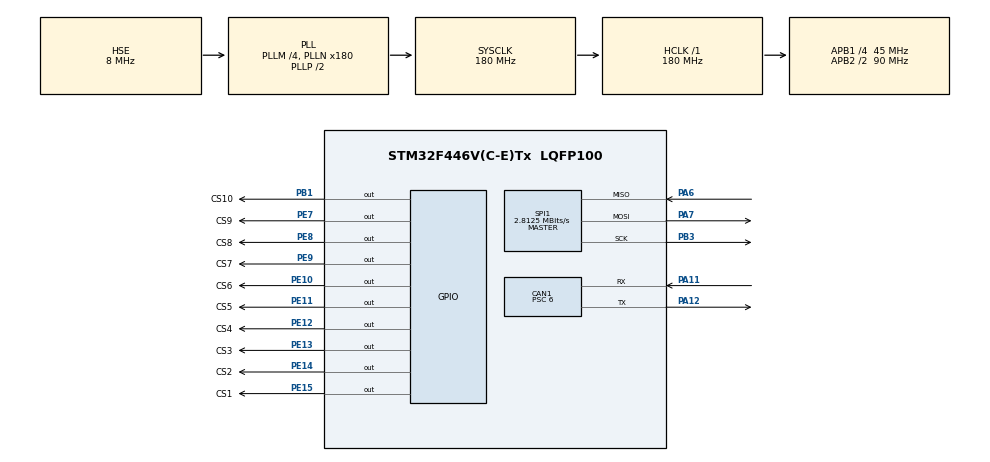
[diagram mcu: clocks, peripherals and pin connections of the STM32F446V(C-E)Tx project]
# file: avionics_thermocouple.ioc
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CAN1.BS1=CAN_BS1_12TQ
CAN1.BS2=CAN_BS2_2TQ
CAN1.CalculateTimeBit=1066
CAN1.CalculateTimeQuantum=133.33333333333331
CAN1.Prescaler=6
CAN1.SJW=CAN_SJW_4TQ
Mcu.Family=STM32F4
Mcu.Name=STM32F446V(C-E)Tx
Mcu.Package=LQFP100
NVIC.PriorityGroup=NVIC_PRIORITYGROUP_4
PA11.Mode=Master
PA11.Signal=CAN1_RX
PA12.Mode=Master
PA12.Signal=CAN1_TX
PA13.Mode=Serial_Wire
PA13.Signal=SYS_JTMS-SWDIO
PA14.Mode=Serial_Wire
PA14.Signal=SYS_JTCK-SWCLK
PA6.Mode=Full_Duplex_Master
PA6.Signal=SPI1_MISO
PA7.Mode=Full_Duplex_Master
PA7.Signal=SPI1_MOSI
PB1.GPIO_Label=CS10
PB1.PinState=GPIO_PIN_SET
PB1.Signal=GPIO_Output
PB3.Mode=Full_Duplex_Master
PB3.Signal=SPI1_SCK
PE10.GPIO_Label=CS6
PE10.PinState=GPIO_PIN_SET
PE10.Signal=GPIO_Output
PE11.GPIO_Label=CS5
PE11.PinState=GPIO_PIN_SET
PE11.Signal=GPIO_Output
PE12.GPIO_Label=CS4
PE12.PinState=GPIO_PIN_SET
PE12.Signal=GPIO_Output
PE13.GPIO_Label=CS3
PE13.PinState=GPIO_PIN_SET
PE13.Signal=GPIO_Output
PE14.GPIO_Label=CS2
PE14.PinState=GPIO_PIN_SET
PE14.Signal=GPIO_Output
PE15.GPIO_Label=CS1
PE15.PinState=GPIO_PIN_SET
PE15.Signal=GPIO_Output
PE7.GPIO_Label=CS9
PE7.PinState=GPIO_PIN_SET
PE7.Signal=GPIO_Output
PE8.GPIO_Label=CS8
PE8.PinState=GPIO_PIN_SET
PE8.Signal=GPIO_Output
PE9.GPIO_Label=CS7
PE9.PinState=GPIO_PIN_SET
PE9.Signal=GPIO_Output
PH0-OSC_IN.Mode=HSE-External-Oscillator
PH0-OSC_IN.Signal=RCC_OSC_IN
PH1-OSC_OUT.Mode=HSE-External-Oscillator
PH1-OSC_OUT.Signal=RCC_OSC_OUT
ProjectManager.HeapSize=0x200
ProjectManager.StackSize=0x400
ProjectManager.TargetToolchain=TrueSTUDIO
RCC.AHBFreq_Value=180000000
RCC.APB1CLKDivider=RCC_HCLK_DIV4
RCC.APB1Freq_Value=45000000
RCC.APB1TimFreq_Value=90000000
RCC.APB2CLKDivider=RCC_HCLK_DIV2
RCC.APB2Freq_Value=90000000
RCC.APB2TimFreq_Value=180000000
RCC.CortexFreq_Value=180000000
RCC.HCLKFreq_Value=180000000
RCC.HSE_VALUE=8000000
RCC.PLLM=4
RCC.PLLN=180
RCC.PLLSourceVirtual=RCC_PLLSOURCE_HSE
RCC.SYSCLKFreq_VALUE=180000000
RCC.SYSCLKSource=RCC_SYSCLKSOURCE_PLLCLK
RCC.USBFreq_Value=180000000
RCC.VCOOutputFreq_Value=360000000
SPI1.BaudRatePrescaler=SPI_BAUDRATEPRESCALER_32
SPI1.CLKPhase=SPI_PHASE_2EDGE
SPI1.CLKPolarity=SPI_POLARITY_HIGH
SPI1.CalculateBaudRate=2.8125 MBits/s
SPI1.DataSize=SPI_DATASIZE_8BIT
SPI1.Direction=SPI_DIRECTION_2LINES
SPI1.Mode=SPI_MODE_MASTER
SPI1.VirtualType=VM_MASTER
TIM3.CounterMode=TIM_COUNTERMODE_DOWN
TIM3.Period=1000
TIM3.Prescaler=90
TIM3.TIM_MasterOutputTrigger=TIM_TRGO_UPDATE
VP_TIM3_VS_ClockSourceINT.Mode=Internal
board=avionics_temp_module

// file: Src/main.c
/**
  ******************************************************************************
  * @file           : main.c
  * @brief          : Main program body
  ******************************************************************************
  ** This notice applies to any and all portions of this file
  * that are not between comment pairs USER CODE BEGIN and
  * USER CODE END. Other portions of this file, whether
  * inserted by the user or by software development tools
  * are owned by their respective copyright owners.
  *
  * COPYRIGHT(c) 2021 STMicroelectronics
  *
  * Redistribution and use in source and binary forms, with or without modification,
  * are permitted provided that the following conditions are met:
  *   1. Redistributions of source code must retain the above copyright notice,
  *      this list of conditions and the following disclaimer.
  *   2. Redistributions in binary form must reproduce the above copyright notice,
  *      this list of conditions and the following disclaimer in the documentation
  *      and/or other materials provided with the distribution.
  *   3. Neither the name of STMicroelectronics nor the names of its contributors
  *      may be used to endorse or promote products derived from this software
  *      without specific prior written permission.
  *
  * THIS SOFTWARE IS PROVIDED BY THE COPYRIGHT HOLDERS AND CONTRIBUTORS "AS IS"
  * AND ANY EXPRESS OR IMPLIED WARRANTIES, INCLUDING, BUT NOT LIMITED TO, THE
  * IMPLIED WARRANTIES OF MERCHANTABILITY AND FITNESS FOR A PARTICULAR PURPOSE ARE
  * DISCLAIMED. IN NO EVENT SHALL THE COPYRIGHT HOLDER OR CONTRIBUTORS BE LIABLE
  * FOR ANY DIRECT, INDIRECT, INCIDENTAL, SPECIAL, EXEMPLARY, OR CONSEQUENTIAL
  * DAMAGES (INCLUDING, BUT NOT LIMITED TO, PROCUREMENT OF SUBSTITUTE GOODS OR
  * SERVICES; LOSS OF USE, DATA, OR PROFITS; OR BUSINESS INTERRUPTION) HOWEVER
  * CAUSED AND ON ANY THEORY OF LIABILITY, WHETHER IN CONTRACT, STRICT LIABILITY,
  * OR TORT (INCLUDING NEGLIGENCE OR OTHERWISE) ARISING IN ANY WAY OUT OF THE USE
  * OF THIS SOFTWARE, EVEN IF ADVISED OF THE POSSIBILITY OF SUCH DAMAGE.
  *
  ******************************************************************************
  */
#include "main.h"
#include "stm32f4xx_hal.h"
#include "can.h"
#include "spi.h"
#include "tim.h"
#include "gpio.h"

/* USER CODE BEGIN PV */
/* Private variables ---------------------------------------------------------*/

/* USER CODE END PV */

void SystemClock_Config(void);

/* USER CODE BEGIN PFP */
/* Private function prototypes -----------------------------------------------*/

/* USER CODE END PFP */

/* USER CODE BEGIN 0 */

// Structs for containing CAN message information
CAN_RxHeaderTypeDef baseCanRxHead;
CAN_TxHeaderTypeDef baseCanTxHead;

// The port number portion of the CAN ID corresponding to the message
// send for the data of each of the sensors, shifted so that the
// field is properly positioned within the CAN ID.
const int portNum[NUM_SENSORS] = {
    0 << PORT_NUM_SHIFT,
    1 << PORT_NUM_SHIFT,
    2 << PORT_NUM_SHIFT,
    3 << PORT_NUM_SHIFT,
    4 << PORT_NUM_SHIFT,
    5 << PORT_NUM_SHIFT,
    6 << PORT_NUM_SHIFT,
    7 << PORT_NUM_SHIFT,
    8 << PORT_NUM_SHIFT
};

// Expected to be used by the timer 3 ISR to determine which of the
// channels to average and send data for over the CAN bus.
//static int nextIdxToSend = 0;

// Chip select pins for each thermocouple
const uint16_t csPins[NUM_SENSORS] = {
  CS1_Pin,
  CS2_Pin,
  CS3_Pin,
  CS4_Pin,
  CS5_Pin,
  CS6_Pin,
  CS7_Pin,
  CS8_Pin,
  CS9_Pin,
  CS10_Pin
};

// GPIO Port of each chip select pin
static GPIO_TypeDef* csPinPorts[NUM_SENSORS] = {
  CS1_GPIO_Port,
  CS2_GPIO_Port,
  CS3_GPIO_Port,
  CS4_GPIO_Port,
  CS5_GPIO_Port,
  CS6_GPIO_Port,
  CS7_GPIO_Port,
  CS8_GPIO_Port,
  CS9_GPIO_Port,
  CS10_GPIO_Port
};

// Buffer for each thermocouple's 3 byte reading
static uint8_t tempDataBuffer[NUM_SENSORS][3];
static uint8_t cjDataBuffer[2];
//static int tempDataReady[NUM_SENSORS] = {0, 0, 0, 0, 0, 0, 0, 0, 0, 0};

static uint8_t tempDataAddr[] = {0x0C};
static uint8_t cjDataAddr[] = {0x0A};
static uint8_t requestConv[2] = {0x80, 0b01000000};

// The number of thermocouple conversions triggered in
// the time it takes for a single conversion to complete.
// For a 660ms max conversion time, if we trigger a conversion
// every 100 ms, this value is ceiling(6.6) = 7
static int trigToReadGap = 7;

int trigInd = 0;
int readInd;

/* USER CODE END 0 */

int main(void)
{

  /* MCU Configuration----------------------------------------------------------*/

  /* Reset of all peripherals, Initializes the Flash interface and the Systick. */
  HAL_Init();

  /* Configure the system clock */
  SystemClock_Config();

  /* Initialize all configured peripherals */
  MX_GPIO_Init();
  MX_CAN1_Init();
  MX_SPI1_Init();
  MX_TIM3_Init();

  /* USER CODE BEGIN 2 */
  // Start the IRQ timer on which data is sent over CAN
  HAL_TIM_Base_Start_IT(&htim3);

  // Initialize the CAN peripheral
  HAL_CAN_Init(&hcan1);

  // Configure CAN hardware receive filters
  //CAN_filterConfig();

  // Start the CAN module
  HAL_CAN_Start(&hcan1);

  // Start listening for CAN traffic on interrupt
  HAL_CAN_ActivateNotification(&hcan1, CAN_IT_RX_FIFO0_MSG_PENDING);

  // Set transmission parameters that are common to all Tx messages
  baseCanTxHead.IDE = CAN_ID_STD; // Standard 11-bit ID
  baseCanTxHead.StdId = OWN_CAN_ID; // CAN ID with port number = 0
  baseCanTxHead.RTR = CAN_RTR_DATA; // data frame (not a request frame)
  baseCanTxHead.DLC = 3;      // Number of data bytes

  // Just a buffer where AddTxMessage can return a code for which Tx
  // mailbox it added the message to. We don't care what it is.
  uint32_t mailbox;

  // Write all chip select pins low (inactive)
  for (int i = 0; i < NUM_SENSORS; i++)
  {
	  HAL_GPIO_WritePin(csPinPorts[i], csPins[i], 1);
  }

  // Initialize thermocouple signal processing ICs
  for (int i = 0; i < NUM_SENSORS; i++)
  {
	  // Write to configuration register 1 to average 16 samples per conversion,
	  // and ensure type K thermocouples are used.
	  uint8_t config1[2] = {0x81, 0b01110011};
	  HAL_GPIO_WritePin(csPinPorts[i], csPins[i], 0);
	  HAL_SPI_Transmit(&hspi1, (uint8_t *)config1, 2, HAL_MAX_DELAY);
	  HAL_GPIO_WritePin(csPinPorts[i], csPins[i], 1);
  }

  /* USER CODE END 2 */

  /* Infinite loop */
  while (1)
  {

  /* USER CODE BEGIN 3 */

  // Trigger a one-shot conversion to thermocouple number `trigInd`
  HAL_GPIO_WritePin(csPinPorts[trigInd], csPins[trigInd], 0);
  HAL_SPI_Transmit(&hspi1, (uint8_t *) requestConv, 2, HAL_MAX_DELAY);
  HAL_GPIO_WritePin(csPinPorts[trigInd], csPins[trigInd], 1);

  // Read the value from a previously triggered conversion on a
  // different thermocouple.
  readInd = (trigInd - trigToReadGap) % NUM_SENSORS;
  if (readInd < 0) {readInd += NUM_SENSORS;}

  HAL_GPIO_WritePin(csPinPorts[readInd], csPins[readInd], 0);
  HAL_SPI_Transmit(&hspi1, (uint8_t *) tempDataAddr, 1, HAL_MAX_DELAY);
  HAL_SPI_Receive(&hspi1, &tempDataBuffer[readInd][0], 3, HAL_MAX_DELAY);
  HAL_GPIO_WritePin(csPinPorts[readInd], csPins[readInd], 1);

  HAL_Delay(10);

  // For debugging, check what it's reading for cold junction temperature
  HAL_GPIO_WritePin(csPinPorts[readInd], csPins[readInd], 0);
  HAL_SPI_Transmit(&hspi1, (uint8_t *) cjDataAddr, 1, HAL_MAX_DELAY);
  HAL_SPI_Receive(&hspi1, (uint8_t *) cjDataBuffer, 2, HAL_MAX_DELAY);
  HAL_GPIO_WritePin(csPinPorts[readInd], csPins[readInd], 1);

  trigInd = (trigInd + 1) % NUM_SENSORS;

  int temp24 = tempDataBuffer[readInd][0] << 16 | \
                   tempDataBuffer[readInd][1] << 8 |  \
                   tempDataBuffer[readInd][2];

  int cjTemp = (cjDataBuffer[0] << 8) | cjDataBuffer[1];
  cjTemp = cjTemp & 0xFFFFFFFF;

//  if (temp24 & 0x800000)
//  {
//    temp24 |= 0xFF000000; //fix sign
//  }
//
//  temp24 >>= 5;
//
//  float tempfloat = temp24;
//  tempfloat *= 0.0078125;
//  tempfloat += 273.15;

  // Specify the contents of the message we're going to send.

  // Copy the base Tx message header into the header for this
  // message specifically.
  CAN_TxHeaderTypeDef msgCanTxHead =  baseCanTxHead;

  // Write the port ID for this sensor to the appropriate field
  // of the CAN ID.
  msgCanTxHead.StdId = OWN_CAN_ID | portNum[readInd];

  // Send the value for this sensor measurement over the CAN bus
  uint8_t canData[3];
  canData[2] = (temp24 >> 16) & 0xFF;
  canData[1] = (temp24 >> 8)  & 0xFF;
  canData[0] = temp24 & 0xFF;

  HAL_CAN_AddTxMessage(&hcan1, &msgCanTxHead, canData, &mailbox);

  HAL_Delay(100);

//  int sensorNum = 1;
///*    uint16_t msgID = create_ID(BOARD_ID, sensorNum);
//    can_msg_t msg;
//
//*/
//    uint16_t value = tempfloat*32;
///*    CAN_short_msg(&msg, msgID, value);
//
//    while(!CAN_can_transmit()){};
//
//    CAN_queue_transmit(&msg);
//
//*/
//    volatile int var = 0;
//
//  }
//  /* USER CODE END 3 */

  }
}

void SystemClock_Config(void)
{

  RCC_OscInitTypeDef RCC_OscInitStruct;
  RCC_ClkInitTypeDef RCC_ClkInitStruct;

    /**Configure the main internal regulator output voltage
    */
  __HAL_RCC_PWR_CLK_ENABLE();

  __HAL_PWR_VOLTAGESCALING_CONFIG(PWR_REGULATOR_VOLTAGE_SCALE1);

    /**Initializes the CPU, AHB and APB busses clocks
    */
  RCC_OscInitStruct.OscillatorType = RCC_OSCILLATORTYPE_HSE;
  RCC_OscInitStruct.HSEState = RCC_HSE_ON;
  RCC_OscInitStruct.PLL.PLLState = RCC_PLL_ON;
  RCC_OscInitStruct.PLL.PLLSource = RCC_PLLSOURCE_HSE;
  RCC_OscInitStruct.PLL.PLLM = 4;
  RCC_OscInitStruct.PLL.PLLN = 180;
  RCC_OscInitStruct.PLL.PLLP = RCC_PLLP_DIV2;
  RCC_OscInitStruct.PLL.PLLQ = 2;
  RCC_OscInitStruct.PLL.PLLR = 2;
  if (HAL_RCC_OscConfig(&RCC_OscInitStruct) != HAL_OK)
  {
    _Error_Handler(__FILE__, __LINE__);
  }

    /**Activate the Over-Drive mode
    */
  if (HAL_PWREx_EnableOverDrive() != HAL_OK)
  {
    _Error_Handler(__FILE__, __LINE__);
  }

    /**Initializes the CPU, AHB and APB busses clocks
    */
  RCC_ClkInitStruct.ClockType = RCC_CLOCKTYPE_HCLK|RCC_CLOCKTYPE_SYSCLK
                              |RCC_CLOCKTYPE_PCLK1|RCC_CLOCKTYPE_PCLK2;
  RCC_ClkInitStruct.SYSCLKSource = RCC_SYSCLKSOURCE_PLLCLK;
  RCC_ClkInitStruct.AHBCLKDivider = RCC_SYSCLK_DIV1;
  RCC_ClkInitStruct.APB1CLKDivider = RCC_HCLK_DIV4;
  RCC_ClkInitStruct.APB2CLKDivider = RCC_HCLK_DIV2;

  if (HAL_RCC_ClockConfig(&RCC_ClkInitStruct, FLASH_LATENCY_5) != HAL_OK)
  {
    _Error_Handler(__FILE__, __LINE__);
  }

    /**Configure the Systick interrupt time
    */
  HAL_SYSTICK_Config(HAL_RCC_GetHCLKFreq()/1000);

    /**Configure the Systick
    */
  HAL_SYSTICK_CLKSourceConfig(SYSTICK_CLKSOURCE_HCLK);

  /* SysTick_IRQn interrupt configuration */
  HAL_NVIC_SetPriority(SysTick_IRQn, 0, 0);
}

void _Error_Handler(char *file, int line)
{
  while(1)
  {
  }
}

/************************ (C) COPYRIGHT STMicroelectronics *****END OF FILE****/
